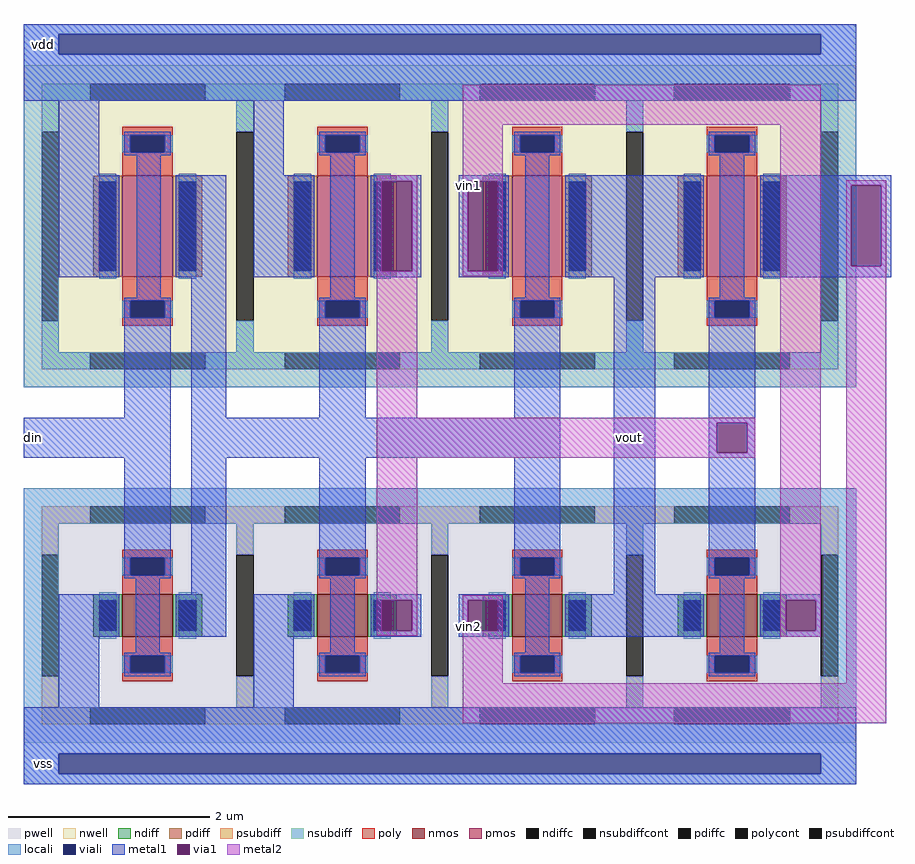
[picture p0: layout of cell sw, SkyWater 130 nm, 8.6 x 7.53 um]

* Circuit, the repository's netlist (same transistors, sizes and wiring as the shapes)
** sch_path: /home/97ms/uci/ip/dac/1.schematics/sw.sch


.subckt sw vdd vss din vin1 vin2 vout
*.iopin vdd
*.iopin vss
*.iopin din
*.iopin vin1
*.iopin vin2
*.iopin vout
XM1 net1 din vdd vdd sky130_fd_pr__pfet_01v8 L=0.5 W=1
XM2 net2 net1 vdd vdd sky130_fd_pr__pfet_01v8 L=0.5 W=1
XM3 vout net1 vin1 vdd sky130_fd_pr__pfet_01v8 L=0.5 W=1
XM4 vin2 net2 vout vdd sky130_fd_pr__pfet_01v8 L=0.5 W=1
XM5 net1 din vss vss sky130_fd_pr__nfet_01v8 L=0.5 W=0.42
XM6 net2 net1 vss vss sky130_fd_pr__nfet_01v8 L=0.5 W=0.42
XM7 vout net1 vin2 vss sky130_fd_pr__nfet_01v8 L=0.5 W=0.42
XM8 vin1 net2 vout vss sky130_fd_pr__nfet_01v8 L=0.5 W=0.42
**.ends
.ends sw

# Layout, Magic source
magic
tech sky130B
magscale 1 2
<< locali >>
rect 0 700 1650 720
rect 0 660 70 700
rect 1580 660 1650 700
rect 0 568 1650 660
rect 0 70 70 568
rect 1580 70 1650 568
rect 0 0 1650 70
rect 0 -270 1650 -200
rect 0 -634 70 -270
rect 1586 -634 1650 -270
rect 0 -726 1650 -634
rect 0 -766 70 -726
rect 1580 -766 1650 -726
rect 0 -786 1650 -766
<< viali >>
rect 70 660 1580 700
rect 70 -766 1580 -726
<< metal1 >>
rect 0 700 1650 720
rect 0 660 70 700
rect 1580 660 1650 700
rect 0 568 1650 660
rect 70 420 150 568
rect 70 218 190 420
rect 224 178 272 460
rect 456 420 516 568
rect 302 218 402 420
rect 456 218 576 420
rect 200 -60 292 132
rect 0 -140 292 -60
rect 200 -332 292 -140
rect 332 -60 402 218
rect 608 178 656 460
rect 688 408 788 420
rect 688 230 710 408
rect 770 230 788 408
rect 688 218 788 230
rect 862 408 962 420
rect 862 230 880 408
rect 940 230 962 408
rect 862 218 962 230
rect 994 178 1042 460
rect 1074 218 1348 420
rect 586 -60 678 132
rect 972 -60 1064 132
rect 332 -140 1064 -60
rect 70 -494 190 -410
rect 70 -634 150 -494
rect 222 -526 270 -378
rect 332 -410 402 -140
rect 586 -332 678 -140
rect 972 -332 1064 -140
rect 302 -494 402 -410
rect 456 -494 576 -410
rect 456 -634 536 -494
rect 608 -526 656 -378
rect 688 -422 788 -410
rect 688 -482 710 -422
rect 770 -482 788 -422
rect 688 -494 788 -482
rect 862 -422 962 -410
rect 862 -482 880 -422
rect 940 -482 962 -422
rect 862 -494 962 -482
rect 994 -526 1042 -378
rect 1170 -410 1252 218
rect 1380 178 1428 460
rect 1460 400 1720 420
rect 1460 240 1640 400
rect 1700 240 1720 400
rect 1460 218 1720 240
rect 1358 -70 1450 132
rect 1358 -130 1374 -70
rect 1434 -130 1450 -70
rect 1358 -332 1450 -130
rect 1074 -494 1348 -410
rect 1380 -526 1428 -378
rect 1460 -422 1580 -410
rect 1460 -482 1510 -422
rect 1570 -482 1580 -422
rect 1460 -494 1580 -482
rect 0 -726 1650 -634
rect 0 -766 70 -726
rect 1580 -766 1650 -726
rect 0 -786 1650 -766
<< via1 >>
rect 710 230 770 408
rect 880 230 940 408
rect 710 -482 770 -422
rect 880 -482 940 -422
rect 1640 240 1700 400
rect 1374 -130 1434 -70
rect 1510 -482 1570 -422
<< metal2 >>
rect 870 520 1580 600
rect 700 408 780 420
rect 700 230 710 408
rect 770 230 780 408
rect 700 -60 780 230
rect 870 408 950 520
rect 870 230 880 408
rect 940 230 950 408
rect 870 220 950 230
rect 700 -70 1450 -60
rect 700 -130 1374 -70
rect 1434 -130 1450 -70
rect 700 -140 1450 -130
rect 700 -422 780 -140
rect 700 -482 710 -422
rect 770 -482 780 -422
rect 700 -492 780 -482
rect 870 -422 950 -412
rect 870 -482 880 -422
rect 940 -482 950 -422
rect 870 -586 950 -482
rect 1500 -422 1580 520
rect 1500 -482 1510 -422
rect 1570 -482 1580 -422
rect 1500 -494 1580 -482
rect 1630 400 1710 410
rect 1630 240 1640 400
rect 1700 240 1710 400
rect 1630 -586 1710 240
rect 870 -666 1710 -586
use sky130_fd_pr__pfet_01v8_XPYSY6  XM1
transform 1 0 246 0 1 319
box -246 -319 246 319
use sky130_fd_pr__pfet_01v8_XPYSY6  XM2
transform 1 0 632 0 1 319
box -246 -319 246 319
use sky130_fd_pr__pfet_01v8_XPYSY6  XM3
transform 1 0 1018 0 1 319
box -246 -319 246 319
use sky130_fd_pr__pfet_01v8_XPYSY6  XM4
transform 1 0 1404 0 1 319
box -246 -319 246 319
use sky130_fd_pr__nfet_01v8_ZFH27D  XM5
transform 1 0 246 0 1 -452
box -246 -252 246 252
use sky130_fd_pr__nfet_01v8_ZFH27D  XM6
transform 1 0 632 0 1 -452
box -246 -252 246 252
use sky130_fd_pr__nfet_01v8_ZFH27D  XM7
transform 1 0 1018 0 1 -452
box -246 -252 246 252
use sky130_fd_pr__nfet_01v8_ZFH27D  XM8
transform 1 0 1404 0 1 -452
box -246 -252 246 252
<< labels >>
flabel metal1 20 660 60 700 0 FreeSans 128 0 0 0 vdd
port 0 nsew
flabel metal1 20 -766 60 -726 0 FreeSans 128 0 0 0 vss
port 1 nsew
flabel metal1 0 -120 40 -80 0 FreeSans 128 0 0 0 din
port 2 nsew
flabel metal1 862 380 902 420 0 FreeSans 128 0 0 0 vin1
port 3 nsew
flabel metal1 862 -494 902 -454 0 FreeSans 128 0 0 0 vin2
port 4 nsew
flabel metal1 1180 -120 1220 -80 0 FreeSans 128 0 0 0 vout
port 5 nsew
<< end >>

# cell sky130_fd_pr__pfet_01v8_XPYSY6: kit device sky130_fd_pr__pfet_01v8, w 1.0 l 0.5 m 1 nf 1 diffcov 100 polycov 100 guard 1 glc 1 grc 1 gtc 1 gbc 1 tbcov 100 rlcov 100 topc 1 botc 1 poverlap 0 doverlap 1 lmin 0.15 wmin 0.42 compatible {sky130_fd_pr__pfet_01v8 sky130_fd_pr__pfet_01v8_lvt sky130_fd_pr__pfet_01v8_hvt sky130_fd_pr__pfet_g5v0d10v5} full_metal 1 viasrc 100 viadrn 100 viagate 100 viagb 0 viagr 0 viagl 0 viagt 0

# cell sky130_fd_pr__nfet_01v8_ZFH27D: kit device sky130_fd_pr__nfet_01v8, w 0.42 l 0.5 m 1 nf 1 diffcov 100 polycov 100 guard 1 glc 1 grc 1 gtc 1 gbc 1 tbcov 100 rlcov 100 topc 1 botc 1 poverlap 0 doverlap 1 lmin 0.15 wmin 0.42 compatible {sky130_fd_pr__nfet_01v8 sky130_fd_pr__nfet_01v8_lvt sky130_fd_bs_flash__special_sonosfet_star sky130_fd_pr__nfet_g5v0d10v5 sky130_fd_pr__nfet_05v0_nvt sky130_fd_pr__nfet_03v3_nvt} full_metal 1 viasrc 100 viadrn 100 viagate 100 viagb 0 viagr 0 viagl 0 viagt 0
